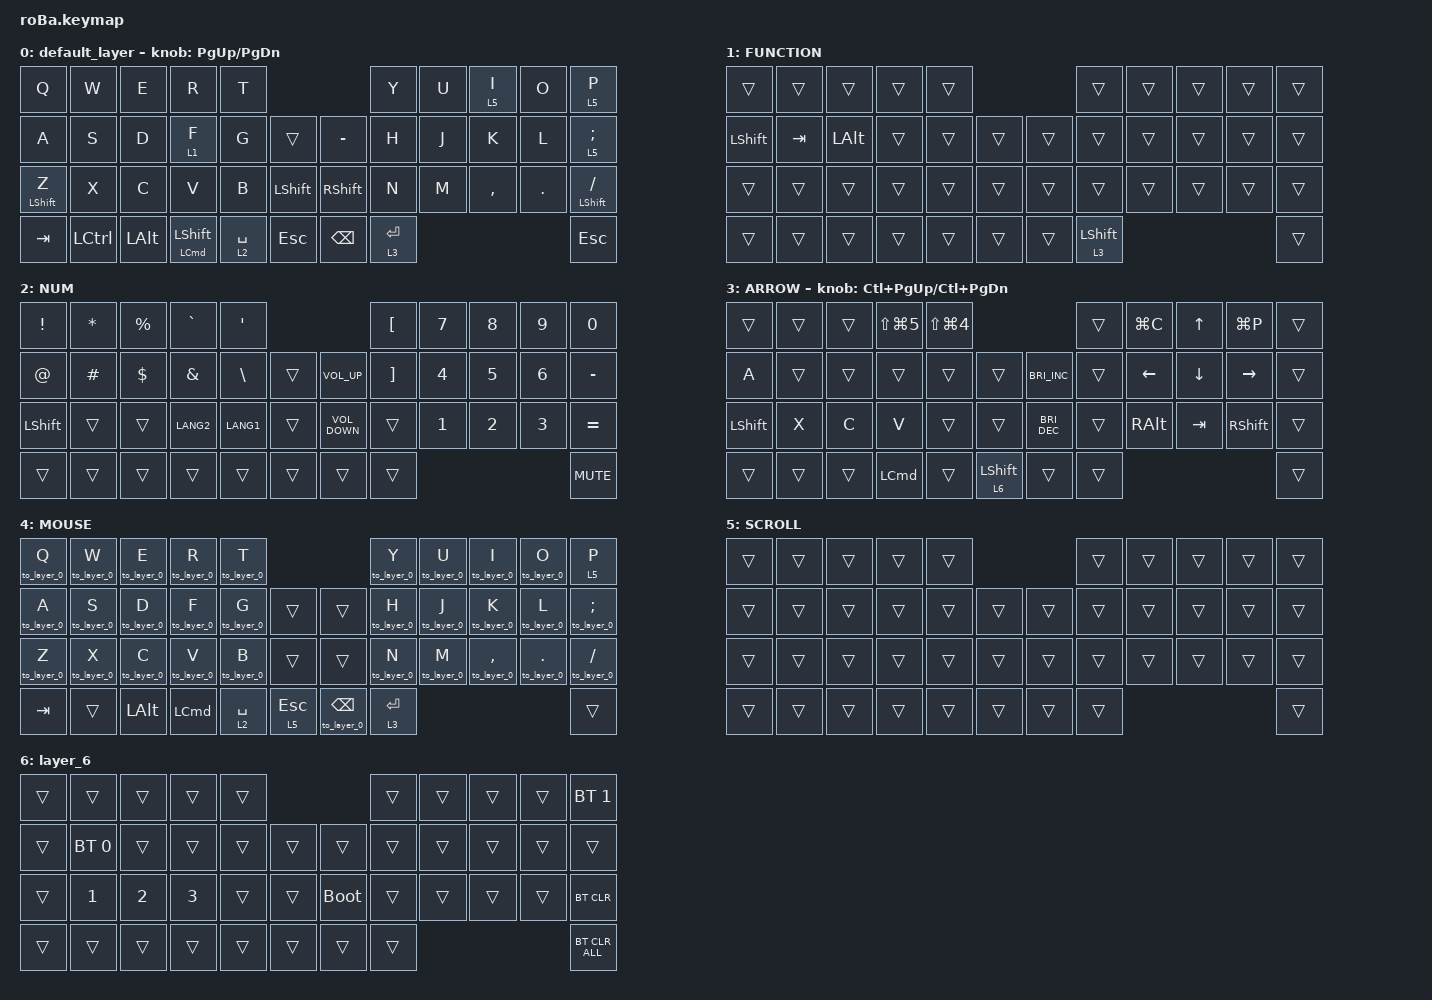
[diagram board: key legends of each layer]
#include <behaviors.dtsi>
#include <dt-bindings/zmk/bt.h>
#include <dt-bindings/zmk/keys.h>
#include <dt-bindings/zmk/pointing.h>

&mt {
    flavor = "balanced";
    quick-tap-ms = <0>;
};

/ {
    combos {
        compatible = "zmk,combos";

        tab {
            bindings = <&kp TAB>;
            key-positions = <11 12>;
        };

        hyphen {
            bindings = <&kp MINUS>;
            key-positions = <20 21>;
        };

        equal {
            bindings = <&kp EQUAL>;
            key-positions = <32 33>;
        };

        rclk {
            bindings = <&mkp RCLK>;
            key-positions = <19 20>;
        };

        copy_page_url {
            bindings = <&kp LG(RS(C))>;
            key-positions = <21 20 19>;
        };

        kana {
            bindings = <&kp LANG1>;
            key-positions = <25 24>;
        };

        ei {
            bindings = <&kp LANG2>;
            key-positions = <24 23>;
        };

        lclick {
            bindings = <&mkp_exit_AML LCLK>;
            key-positions = <18 19>;
        };
    };

    macros {
        to_layer_0: to_layer_0 {
            compatible = "zmk,behavior-macro-one-param";
            #binding-cells = <1>;
            bindings = <&to 0 &macro_param_1to1 &kp MACRO_PLACEHOLDER>;
            label = "TO_LAYER_0";
        };

        mkp_exit_AML: mkp_exit_AML {
            compatible = "zmk,behavior-macro-one-param";
            #binding-cells = <1>;
            bindings =
                <&macro_press>,
                <&macro_param_1to1 &mkp MACRO_PLACEHOLDER>,
                <&macro_pause_for_release>,
                <&macro_release>,
                <&macro_param_1to1 &mkp MACRO_PLACEHOLDER>,
                <&macro_tap>,
                <&sl 4>;

            label = "MKP_EXIT_AML";
        };
    };

    behaviors {
        lt_to_layer_0: lt_to_layer_0 {
            compatible = "zmk,behavior-hold-tap";
            label = "LAYER_TAP_TO_0";
            bindings = <&mo>, <&to_layer_0>;

            #binding-cells = <2>;
            tapping-term-ms = <200>;
        };
    };

    keymap {
        compatible = "zmk,keymap";

        default_layer {
            bindings = <
&kp Q             &kp W             &kp E         &kp R                        &kp T                                             &kp Y        &kp U  &lt 5 I    &kp O    &lt 5 P
&kp A             &kp S             &kp D         &lt 1 F                      &kp G        &trans              &kp MINUS        &kp H        &kp J  &kp K      &kp L    &lt 5 SEMICOLON
&mt LEFT_SHIFT Z  &kp X             &kp C         &kp V                        &kp B        &kp LEFT_SHIFT      &kp RIGHT_SHIFT  &kp N        &kp M  &kp COMMA  &kp DOT  &mt LEFT_SHIFT SLASH
&kp TAB           &kp LEFT_CONTROL  &kp LEFT_ALT  &mt LEFT_COMMAND LEFT_SHIFT  &lt 2 SPACE  &kp ESCAPE          &kp BACKSPACE    &lt 3 ENTER                             &kp ESCAPE
            >;

            sensor-bindings = <&inc_dec_kp PG_UP PAGE_DOWN>;
        };

        FUNCTION {
            bindings = <
&trans          &trans   &trans        &trans  &trans                      &trans            &trans  &trans  &trans  &trans
&kp LEFT_SHIFT  &kp TAB  &kp LEFT_ALT  &trans  &trans  &trans      &trans  &trans            &trans  &trans  &trans  &trans
&trans          &trans   &trans        &trans  &trans  &trans      &trans  &trans            &trans  &trans  &trans  &trans
&trans          &trans   &trans        &trans  &trans  &trans      &trans  &lt 3 LEFT_SHIFT                          &trans
            >;
        };

        NUM {
            bindings = <
&kp EXCLAMATION  &kp ASTERISK  &kp PERCENT  &kp GRAVE      &kp SQT                                       &kp LEFT_BRACKET   &kp N7        &kp N8        &kp N9        &kp N0
&kp AT_SIGN      &kp HASH      &kp DOLLAR   &kp AMPERSAND  &kp BACKSLASH  &trans      &kp C_VOLUME_UP    &kp RIGHT_BRACKET  &kp NUMBER_4  &kp N5        &kp NUMBER_6  &kp MINUS
&kp LEFT_SHIFT   &trans        &trans       &kp LANG2      &kp LANG1      &trans      &kp C_VOLUME_DOWN  &trans             &kp NUMBER_1  &kp NUMBER_2  &kp NUMBER_3  &kp EQUAL
&trans           &trans        &trans       &trans         &trans         &trans      &trans             &trans                                                       &kp K_MUTE
            >;
        };

        ARROW {
            bindings = <
&trans          &trans  &trans  &kp LS(LG(N5))    &kp LS(LG(N4))                                              &trans  &kp LG(C)       &kp UP_ARROW    &kp LG(P)        &trans
&kp A           &trans  &trans  &trans            &trans          &trans                &kp C_BRIGHTNESS_INC  &trans  &kp LEFT_ARROW  &kp DOWN_ARROW  &kp RIGHT_ARROW  &trans
&kp LEFT_SHIFT  &kp X   &kp C   &kp V             &trans          &trans                &kp C_BRIGHTNESS_DEC  &trans  &kp RIGHT_ALT   &kp TAB         &kp RIGHT_SHIFT  &trans
&trans          &trans  &trans  &kp LEFT_COMMAND  &trans          &lt 6 LEFT_SHIFT      &trans                &trans                                                   &trans
            >;

            sensor-bindings = <&inc_dec_kp LC(PAGE_UP) LC(PAGE_DOWN)>;
        };

        MOUSE {
            bindings = <
&to_layer_0 Q  &to_layer_0 W  &to_layer_0 E  &to_layer_0 R     &to_layer_0 T                                           &to_layer_0 Y  &to_layer_0 U  &to_layer_0 I      &to_layer_0 O       &lt 5 P
&to_layer_0 A  &to_layer_0 S  &to_layer_0 D  &to_layer_0 F     &to_layer_0 G  &trans            &trans                 &to_layer_0 H  &to_layer_0 J  &to_layer_0 K      &to_layer_0 L       &to_layer_0 SEMICOLON
&to_layer_0 Z  &to_layer_0 X  &to_layer_0 C  &to_layer_0 V     &to_layer_0 B  &trans            &trans                 &to_layer_0 N  &to_layer_0 M  &to_layer_0 COMMA  &to_layer_0 PERIOD  &to_layer_0 SLASH
&kp TAB        &trans         &kp LEFT_ALT   &kp LEFT_COMMAND  &lt 2 SPACE    &lt 5 ESCAPE      &to_layer_0 BACKSPACE  &lt 3 ENTER                                                          &trans
            >;
        };

        SCROLL {
            bindings = <
&trans  &trans  &trans  &trans  &trans                      &trans  &trans  &trans  &trans  &trans
&trans  &trans  &trans  &trans  &trans  &trans      &trans  &trans  &trans  &trans  &trans  &trans
&trans  &trans  &trans  &trans  &trans  &trans      &trans  &trans  &trans  &trans  &trans  &trans
&trans  &trans  &trans  &trans  &trans  &trans      &trans  &trans                          &trans
            >;
        };

        layer_6 {
            bindings = <
&trans  &trans        &trans        &trans        &trans                           &trans  &trans  &trans  &trans  &bt BT_SEL 1
&trans  &bt BT_SEL 0  &trans        &trans        &trans  &trans      &trans       &trans  &trans  &trans  &trans  &trans
&trans  &kp NUMBER_1  &kp NUMBER_2  &kp NUMBER_3  &trans  &trans      &bootloader  &trans  &trans  &trans  &trans  &bt BT_CLR
&trans  &trans        &trans        &trans        &trans  &trans      &trans       &trans                          &bt BT_CLR_ALL
            >;
        };
    };
};
